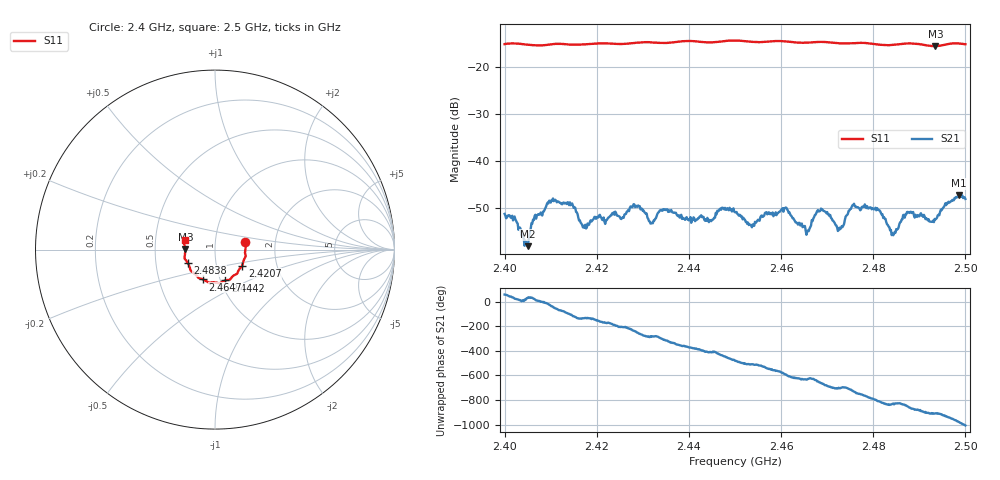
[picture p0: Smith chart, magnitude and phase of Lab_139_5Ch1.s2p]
# Hz S RI R 50
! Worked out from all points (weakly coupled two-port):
!   601 points, 2.4 GHz to 2.5 GHz, reference 50 ohm
!   highest |S21| = -47.30 dB at 2.4987 GHz (marker M1); lowest = -58.1 dB at 2.405 GHz (marker M2)
!   lowest |S11| = -15.6 dB at 2.4935 GHz (marker M3), VSWR 1.40, Z = 35.8 + j0.139 ohm
!   |S11| at or under -10 dB: start of sweep to end of sweep
!   S12 and S22 are empty: the file has one direction only
!   S11 on the Smith chart (normalised r, x): 2.4 GHz: 1.40, +0.11; 2.4207 GHz: 1.33, -0.24; 2.4442 GHz: 1.05, -0.37; 2.4647 GHz: 0.83, -0.29; 2.4838 GHz: 0.73, -0.11; 2.5 GHz: 0.71, +0.08
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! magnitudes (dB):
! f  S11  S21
! 2.4 GHz  -15.2  -51.2
! 2.405 GHz  -15.3  -58.1
! 2.4102 GHz  -15.2  -48.4
! 2.4147 GHz  -15.3  -49.0
! 2.4167 GHz  -15.3  -53.3
! 2.4207 GHz  -15.1  -51.4
! 2.4333 GHz  -15.0  -50.9
! 2.4442 GHz  -14.8  -52.4
! 2.45 GHz  -14.4  -50.9
! 2.4537 GHz  -14.7  -54.1
! 2.4608 GHz  -14.6  -50.0
! 2.4647 GHz  -14.9  -54.0
! 2.4667 GHz  -14.9  -52.5
! 2.4692 GHz  -14.7  -50.6
! 2.4728 GHz  -15.1  -54.5
! 2.4758 GHz  -15.0  -49.1
! 2.4833 GHz  -15.4  -53.9
! 2.4838 GHz  -15.4  -54.6
! 2.4877 GHz  -15.1  -50.9
! 2.4935 GHz  -15.6  -52.4
! 2.4987 GHz  -15.1  -47.3
! 2.5 GHz  -15.2  -48.0
